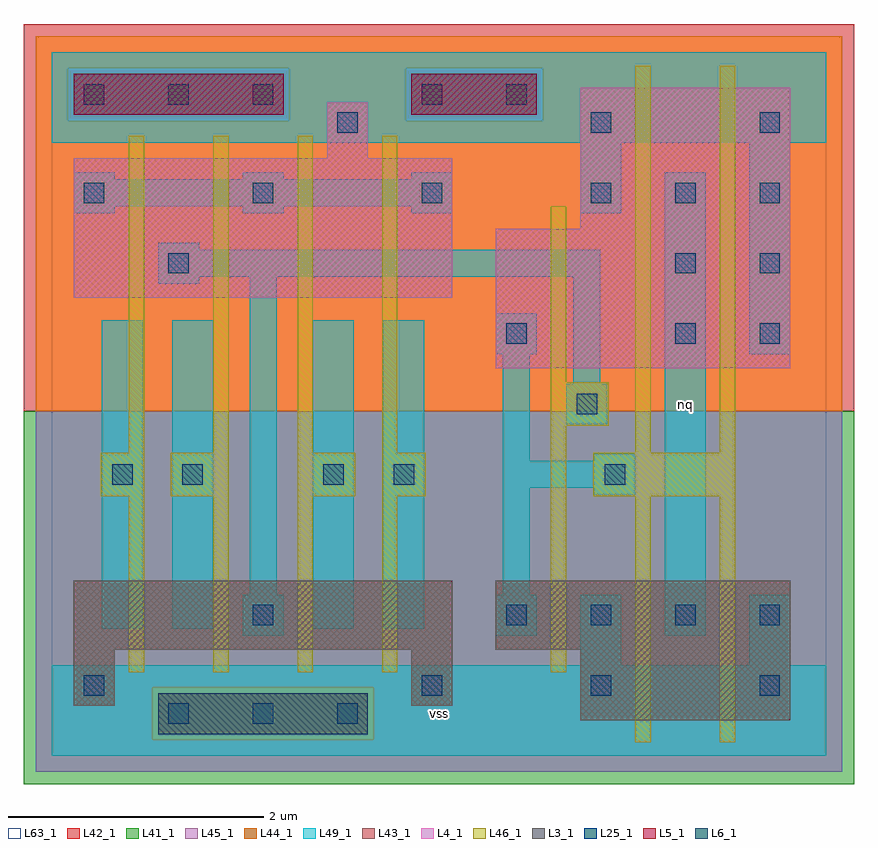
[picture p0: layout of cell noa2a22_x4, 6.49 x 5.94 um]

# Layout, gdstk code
import gdstk
lib = gdstk.Library(unit=1e-6, precision=1e-09)
def R(c, l, rs):  # rectangles x0, y0, x1, y1
    for r in rs: c.add(gdstk.rectangle(r[:2], r[2:], *l))
def A(c, l, x, y, w, h, nx, ny, dx, dy):  # array of equal rectangles
    R(c, l, [(x+i*dx, y+j*dy, x+i*dx+w, y+j*dy+h) for i in range(nx) for j in range(ny)])
L3_1 = (3, 1)
L4_1 = (4, 1)
L5_1 = (5, 1)
L6_1 = (6, 1)
L25_1 = (25, 1)
L41_1 = (41, 1)
L42_1 = (42, 1)
L43_1 = (43, 1)
L44_1 = (44, 1)
L45_1 = (45, 1)
L46_1 = (46, 1)
L49_1 = (49, 1)
L63_1 = (63, 1)

noa2a22_x4 = lib.new_cell('noa2a22_x4')
R(noa2a22_x4, L3_1, [(4.13,0.28,5.77,0.83), (0.17,0.39,0.49,0.83), (2.81,0.39,3.13,0.83), (0.17,0.83,3.13,1.37), (3.47,0.83,5.77,1.37)])
R(noa2a22_x4, L4_1, [(3.47,3.03,5.77,4.12), (0.17,3.58,3.13,4.67), (4.13,4.12,5.77,5.22), (2.15,4.67,2.47,5.11)])
R(noa2a22_x4, L5_1, [(0.17,5.01,1.81,5.33), (2.81,5.01,3.79,5.33)])
R(noa2a22_x4, L6_1, [(0.83,0.17,2.47,0.49)])
A(noa2a22_x4, L25_1, 0.91, 0.25, 0.16, 0.16, 3, 1, 0.66, 0)
A(noa2a22_x4, L25_1, 2.89, 0.47, 0.16, 0.16, 3, 1, 1.32, 0)
A(noa2a22_x4, L25_1, 3.55, 1.02, 0.16, 0.16, 4, 1, 0.66, 0)
A(noa2a22_x4, L25_1, 4.87, 3.22, 0.16, 0.16, 1, 3, 0, 0.55)
A(noa2a22_x4, L25_1, 5.53, 3.22, 0.16, 0.16, 1, 4, 0, 0.55)
A(noa2a22_x4, L25_1, 0.25, 4.32, 0.16, 0.16, 4, 1, 1.32, 0)
A(noa2a22_x4, L25_1, 0.25, 5.09, 0.16, 0.16, 3, 1, 0.66, 0)
R(noa2a22_x4, L25_1, [(0.25,0.47,0.41,0.63), (1.57,1.02,1.73,1.18), (0.47,2.12,0.63,2.28), (1.02,2.12,1.18,2.28), (2.12,2.12,2.28,2.28), (2.67,2.12,2.83,2.28), (4.32,2.12,4.48,2.28), (4.1,2.67,4.26,2.83), (3.55,3.22,3.71,3.38), (0.91,3.77,1.07,3.93), (2.23,4.87,2.39,5.03), (4.21,4.87,4.37,5.03), (2.89,5.09,3.05,5.25), (3.55,5.09,3.71,5.25)])
R(noa2a22_x4, L41_1, [(-0.22,-0.22,6.27,2.695)])
R(noa2a22_x4, L42_1, [(-0.22,2.695,6.27,5.72)])
R(noa2a22_x4, L43_1, [(0.83,0.17,2.47,0.49), (4.13,0.28,5.77,0.83), (0.17,0.39,0.49,0.83), (2.81,0.39,3.13,0.83), (0.17,0.83,3.13,1.37), (3.47,0.83,5.77,1.37), (3.47,3.03,5.77,4.12), (0.17,3.58,3.13,4.67), (4.13,4.12,5.77,5.22), (2.15,4.67,2.47,5.11), (0.17,5.01,1.81,5.33), (2.81,5.01,3.79,5.33)])
R(noa2a22_x4, L44_1, [(0.785,0.125,2.515,0.535), (-0.125,2.695,6.175,4.965), (-0.125,4.965,0.125,5.375), (1.855,4.965,2.765,5.375), (3.835,4.965,6.175,5.375), (-0.125,5.375,6.175,5.625)])
R(noa2a22_x4, L45_1, [(-0.125,-0.125,6.175,0.125), (-0.125,0.125,0.785,0.535), (2.515,0.125,6.175,0.535), (-0.125,0.535,6.175,2.695), (0.125,4.965,1.855,5.375), (2.765,4.965,3.835,5.375)])
A(noa2a22_x4, L46_1, 0.6, 0.655, 0.12, 1.375, 4, 1, 0.66, 0)
A(noa2a22_x4, L46_1, 0.6, 2.37, 0.12, 2.475, 4, 1, 0.66, 0)
R(noa2a22_x4, L46_1, [(4.56,0.105,4.68,2.03), (5.22,0.105,5.34,2.03), (3.9,0.655,4.02,2.58), (0.38,2.03,0.72,2.37), (0.93,2.03,1.38,2.37), (1.92,2.03,2.37,2.37), (2.58,2.03,2.92,2.37), (4.23,2.03,5.34,2.37), (4.56,2.37,4.68,5.395), (5.22,2.37,5.34,5.395), (3.9,2.58,4.35,2.92), (3.9,2.92,4.02,4.295)])
A(noa2a22_x4, L49_1, 0.17, 4.24, 0.32, 0.055, 3, 2, 1.32, 0.265)
R(noa2a22_x4, L49_1, [(0,0,6.05,0.71), (4.13,0.71,4.45,1.26), (5.45,0.71,5.77,1.26), (1.49,0.94,1.81,1.26), (3.47,0.94,3.79,1.26), (4.79,0.94,5.11,4.56), (0.39,0.995,0.71,3.405), (0.94,0.995,1.26,3.405), (2.04,0.995,2.36,3.405), (2.59,0.995,2.91,3.405), (1.545,1.26,1.755,3.745), (3.525,1.26,3.735,2.095), (4.24,2.04,4.56,2.095), (3.525,2.095,4.56,2.305), (3.525,2.305,3.735,3.14), (4.24,2.305,4.56,2.36), (4.02,2.59,4.34,2.91), (4.075,2.91,4.285,3.745), (3.47,3.14,3.79,3.46), (5.45,3.14,5.77,4.79), (0.83,3.69,1.15,3.745), (0.83,3.745,4.285,3.955), (0.83,3.955,1.15,4.01), (4.13,4.24,4.45,4.79), (0.17,4.295,3.13,4.505), (0,4.79,6.05,5.5)])
R(noa2a22_x4, L63_1, [(0,0,6.05,5.5)])
noa2a22_x4.add(gdstk.Label('vss', (3.025,0.33), layer=49, texttype=1))
noa2a22_x4.add(gdstk.Label('vss', (3.025,0.33), layer=49, texttype=1))
noa2a22_x4.add(gdstk.Label('nq', (4.95,2.75), layer=49, texttype=1))
noa2a22_x4.add(gdstk.Label('nq', (4.95,2.75), layer=49, texttype=1))

lib.write_gds('noa2a22_x4.gds')
